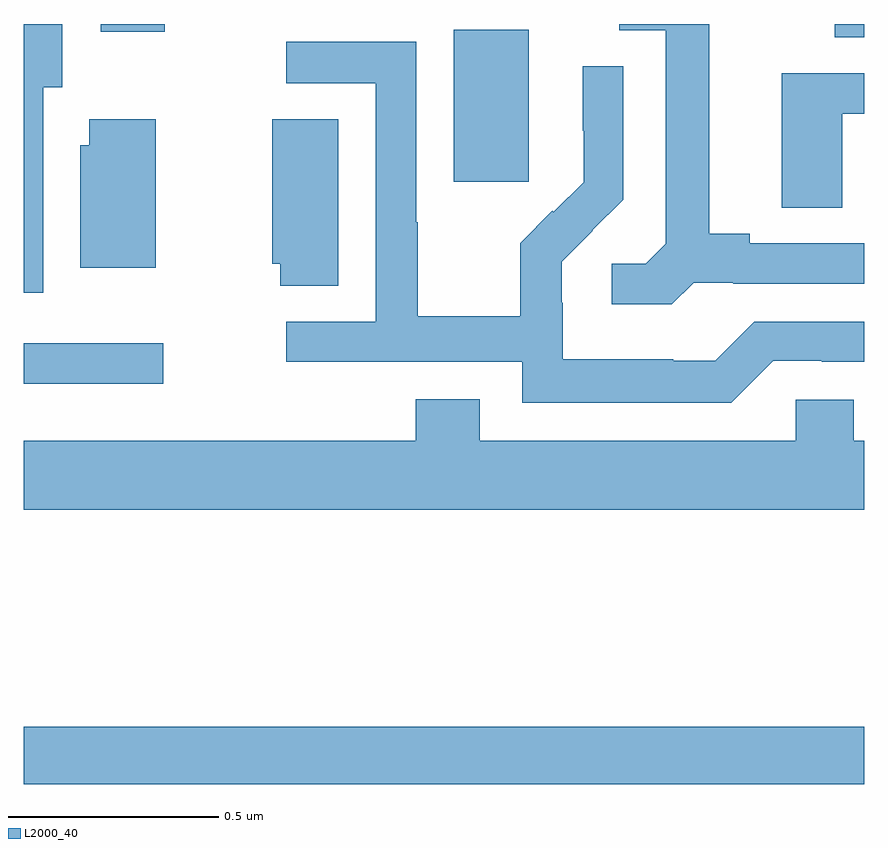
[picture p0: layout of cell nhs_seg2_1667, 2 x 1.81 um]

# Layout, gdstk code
import gdstk
lib = gdstk.Library(unit=1e-6, precision=1e-09)
def R(c, l, rs):  # rectangles x0, y0, x1, y1
    for r in rs: c.add(gdstk.rectangle(r[:2], r[2:], *l))
def P(c, l, *ps):  # polygons
    for p in ps: c.add(gdstk.Polygon(p, *l))
L2000_40 = (2000, 40)

nhs_seg2_1667 = lib.new_cell('nhs_seg2_1667')
R(nhs_seg2_1667, L2000_40, [(131,638.992,133,639.128), (131,639.944,131.332,640.041), (132.023,640.425,132.202,640.786), (132.929,640.768,133,640.8), (131.183,640.782,131.336,640.8)])
P(nhs_seg2_1667, L2000_40, [(132.594,640.185),(132.688,640.185),(132.688,640.182),(133,640.182),(133,640.278),(132.727,640.278),(132.727,640.301),(132.631,640.301),(132.631,640.8),(132.417,640.8),(132.417,640.785),(132.527,640.785),(132.527,640.277),(132.48,640.23),(132.399,640.23),(132.399,640.133),(132.542,640.133)],
  [(131.047,640.65),(131.092,640.65),(131.092,640.8),(131,640.8),(131,640.161),(131.047,640.161)],
  [(132.783,639.999),(132.899,639.999),(132.899,639.996),(133,639.996),(133,640.092),(132.738,640.092),(132.645,639.999),(132.545,639.999),(132.545,640.003),(132.282,640.003),(132.282,640.137),(132.28,640.137),(132.28,640.234),(132.354,640.308),(132.353,640.309),(132.426,640.382),(132.426,640.7),(132.33,640.7),(132.33,640.546),(132.332,640.546),(132.332,640.424),(132.261,640.353),(132.258,640.356),(132.181,640.279),(132.181,640.105),(131.937,640.105),(131.937,640.328),(131.934,640.328),(131.934,640.758),(131.625,640.758),(131.625,640.659),(131.838,640.659),(131.838,640.092),(131.625,640.092),(131.625,639.996),(132.186,639.996),(132.186,639.899),(132.683,639.899)],
  [(132.948,640.587),(133,640.587),(133,640.683),(132.803,640.683),(132.803,640.363),(132.948,640.363)],
  [(131.749,640.574),(131.591,640.574),(131.591,640.23),(131.611,640.23),(131.611,640.177),(131.749,640.177)],
  [(131.314,640.573),(131.156,640.573),(131.156,640.512),(131.135,640.512),(131.135,640.22),(131.314,640.22)],
  [(133,639.808),(132.975,639.808),(132.975,639.906),(132.837,639.906),(132.837,639.808),(132.085,639.808),(132.085,639.907),(131.933,639.907),(131.933,639.808),(131,639.808),(131,639.644),(133,639.644)])

lib.write_gds('nhs_seg2_1667.gds')
